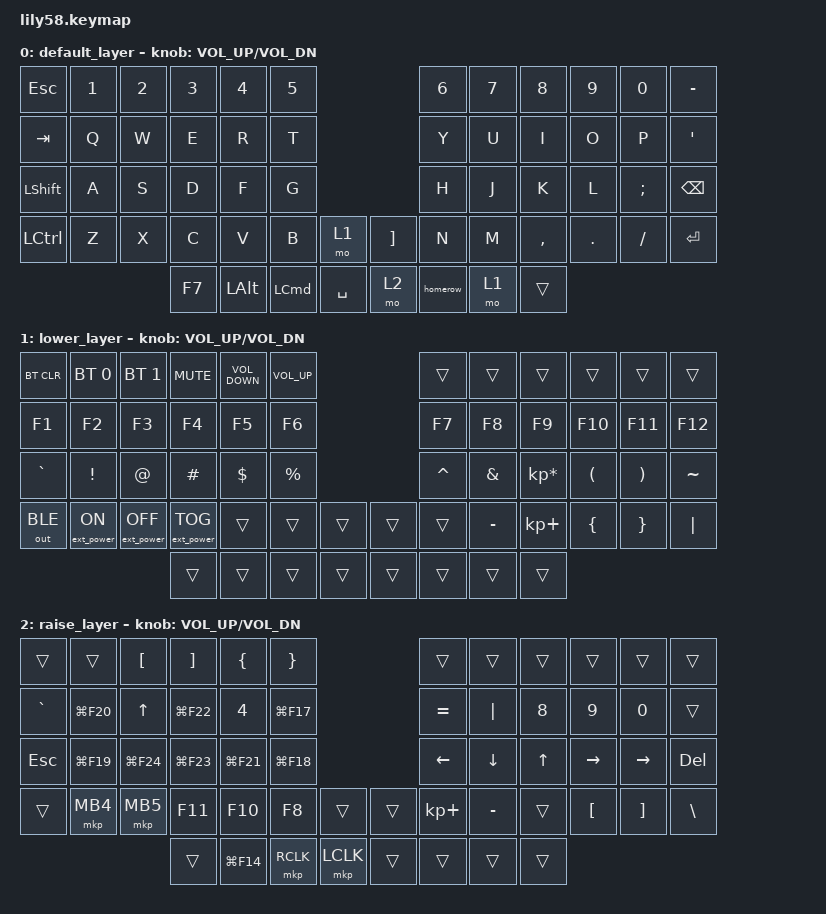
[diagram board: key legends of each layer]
/*
 * Copyright (c) 2020 The ZMK Contributors
 *
 * SPDX-License-Identifier: MIT
 */

#include <behaviors.dtsi>
#include <dt-bindings/zmk/bt.h>
#include <dt-bindings/zmk/ext_power.h>
#include <dt-bindings/zmk/keys.h>
#include <dt-bindings/zmk/mouse.h>
#include <dt-bindings/zmk/outputs.h>

/ {
    combos { compatible = "zmk,combos"; };

    behaviors {
        new_behavior: new_behavior {
            compatible = "zmk,behavior-hold-tap";
            label = "NEW_BEHAVIOR";
            bindings = <&kp>, <&kp>;

            #binding-cells = <2>;
            tapping-term-ms = <200>;
            hold-trigger-key-positions = <52 53>;
            flavor = "hold-preferred";
        };
    };

    macros {
        tool: new_macro {
            compatible = "zmk,behavior-macro";
            #binding-cells = <0>;
            bindings = <&kp LG(SPACE)>;
            label = "NEW_MACRO";
        };

        homerow: homerow {
            compatible = "zmk,behavior-macro";
            #binding-cells = <0>;
            bindings = <&kp LG(LS(SPACE))>;
            label = "HOMEROW";
        };
    };

    keymap {
        compatible = "zmk,keymap";

        default_layer {
            // ------------------------------------------------------------------------------------------------------------
            // |  ESC  |  1  |  2  |  3   |  4   |  5   |                   |  6   |  7    |  8    |  9   |   0   |   `   |
            // |  TAB  |  Q  |  W  |  E   |  R   |  T   |                   |  Y   |  U    |  I    |  O   |   P   |   -   |
            // |  CTRL |  A  |  S  |  D   |  F   |  G   |                   |  H   |  J    |  K    |  L   |   ;   |   '   |
            // | SHIFT |  Z  |  X  |  C   |  V   |  B   |   "["  |  |  "]"  |  N   |  M    |  ,    |  .   |   /   | SHIFT |
            //                     | ALT  | GUI  | LOWER|  SPACE |  | ENTER | RAISE| BSPC  | GUI   |

            bindings = <
&kp ESC     &kp N1  &kp N2  &kp N3  &kp N4        &kp N5                                   &kp N6    &kp N7  &kp N8     &kp N9   &kp N0    &kp MINUS
&kp TAB     &kp Q   &kp W   &kp E   &kp R         &kp T                                    &kp Y     &kp U   &kp I      &kp O    &kp P     &kp SINGLE_QUOTE
&kp LSHIFT  &kp A   &kp S   &kp D   &kp F         &kp G                                    &kp H     &kp J   &kp K      &kp L    &kp SEMI  &kp BACKSPACE
&kp LCTRL   &kp Z   &kp X   &kp C   &kp V         &kp B             &mo 1        &kp RBKT  &kp N     &kp M   &kp COMMA  &kp DOT  &kp FSLH  &kp ENTER
                            &kp F7  &kp LEFT_ALT  &kp LEFT_COMMAND  &kp SPACE    &mo 2     &homerow  &mo 1   &trans
            >;

            sensor-bindings = <&inc_dec_kp C_VOL_UP C_VOL_DN>;
        };

        lower_layer {
            // ------------------------------------------------------------------------------------------------------------
            // | BTCLR | BT1 | BT2 |  BT3 |  BT4 |  BT5 |                   |      |       |       |      |       |       |
            // |  F1   |  F2 |  F3 |  F4  |  F5  |  F6  |                   |  F7  |  F8   |  F9   |  F10 |  F11  |  F12  |
            // |   `   |  !  |  @  |  #   |  $   |  %   |                   |  ^   |  &    |  *    |  (   |   )   |   ~   |
            // |       |     |     |      |      |      |        |  |       |      |  _    |  +    |  {   |   }   |  "|"  |
            //                     |      |      |      |        |  |       |      |       |       |

            bindings = <
&bt BT_CLR    &bt BT_SEL 0      &bt BT_SEL 1       &kp K_MUTE         &kp C_VOLUME_DOWN  &kp C_VOLUME_UP                    &trans     &trans     &trans           &trans    &trans    &trans
&kp F1        &kp F2            &kp F3             &kp F4             &kp F5             &kp F6                             &kp F7     &kp F8     &kp F9           &kp F10   &kp F11   &kp F12
&kp GRAVE     &kp EXCL          &kp AT             &kp HASH           &kp DOLLAR         &kp PRCNT                          &kp CARET  &kp AMPS   &kp KP_MULTIPLY  &kp LPAR  &kp RPAR  &kp TILDE
&out OUT_BLE  &ext_power EP_ON  &ext_power EP_OFF  &ext_power EP_TOG  &trans             &trans           &trans    &trans  &trans     &kp MINUS  &kp KP_PLUS      &kp LBRC  &kp RBRC  &kp PIPE
                                                   &trans             &trans             &trans           &trans    &trans  &trans     &trans     &trans
            >;

            sensor-bindings = <&inc_dec_kp C_VOL_UP C_VOL_DN>;
        };

        raise_layer {
            // ------------------------------------------------------------------------------------------------------------
            // |       |     |     |      |      |      |                   |      |       |       |      |       |       |
            // |   `   |  1  |  2  |  3   |  4   |  5   |                   |  6   |   7   |   8   |  9   |   0   |       |
            // |   F1  |  F2 |  F3 |  F4  |  F5  |  F6  |                   |      |   <-  |   v   |  ^   |  ->   |       |
            // |   F7  |  F8 |  F9 |  F10 |  F11 |  F12 |        |  |       |  +   |   -   |   =   |  [   |   ]   |   \   |
            //                     |      |      |      |        |  |       |      |       |       |

            bindings = <
&trans      &trans       &kp LEFT_BRACKET  &kp RBKT     &kp LEFT_BRACE  &kp RIGHT_BRACE                       &trans       &trans     &trans        &trans     &trans     &trans
&kp GRAVE   &kp LG(F20)  &kp UP_ARROW      &kp LG(F22)  &kp N4          &kp LG(F17)                           &kp EQUAL    &kp PIPE   &kp N8        &kp N9     &kp N0     &trans
&kp ESCAPE  &kp LG(F19)  &kp LG(F24)       &kp LG(F23)  &kp LG(F21)     &kp LG(F18)                           &kp LEFT     &kp DOWN   &kp UP_ARROW  &kp RIGHT  &kp RIGHT  &kp DELETE
&trans      &mkp MB4     &mkp MB5          &kp F11      &kp F10         &kp F8           &trans       &trans  &kp KP_PLUS  &kp MINUS  &trans        &kp LBKT   &kp RBKT   &kp BSLH
                                           &trans       &kp LG(F14)     &mkp RCLK        &mkp LCLK    &trans  &trans       &trans     &trans
            >;

            sensor-bindings = <&inc_dec_kp C_VOL_UP C_VOL_DN>;
        };
    };
};
